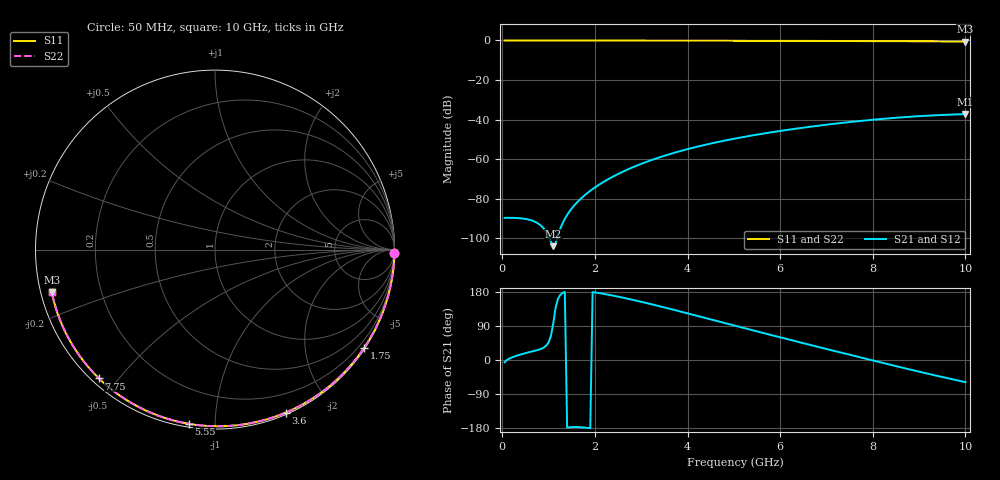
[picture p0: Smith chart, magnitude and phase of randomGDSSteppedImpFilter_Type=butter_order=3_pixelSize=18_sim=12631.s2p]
! freq	dB(S11)	phase(S11)	dB(S12)	phase(S12)
!  dB(S21)	phase(S21)	dB(S22)	phase(S22)
!S-par simulation data
#  GHz  S  DB  R 50
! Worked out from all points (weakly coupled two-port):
!   200 points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, 50 MHz to 10 GHz, reference 50 ohm
!   highest |S21| = -37.20 dB at 10 GHz (marker M1); lowest = -103.9 dB at 1.1 GHz (marker M2)
!   lowest |S11| = -0.5 dB at 10 GHz (marker M3), VSWR 32.37, Z = 1.57 - j6.44 ohm
!   |S11| at or under -10 dB: nowhere
!   |S22| runs from -0.5 to 0.0 dB; largest |S21 - S12| = 0
!   S11 on the Smith chart (normalised r, x): 50 MHz: open; 1.75 GHz: 0.03, -3.34; 3.6 GHz: 0.02, -1.52; 5.55 GHz: 0.02, -0.86; 7.75 GHz: 0.02, -0.45; 10 GHz: 0.03, -0.13
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0.05  -0.00 -1.0  -89.65 -6.2  -89.65 -6.2  -0.00 -1.0
0.55  -0.01 -10.6  -90.39 19.7  -90.39 19.7  -0.01 -10.6
1.1  -0.02 -21.1  -103.92 95.8  -103.92 95.8  -0.02 -21.1
1.65  -0.04 -31.5  -80.95 -177.0  -80.95 -177.0  -0.04 -31.5
1.7  -0.04 -32.4  -79.82 -177.4  -79.82 -177.4  -0.04 -32.4
1.75  -0.04 -33.4  -78.77 -177.9  -78.77 -177.9  -0.04 -33.4
1.9  -0.05 -36.1  -75.92 -180.0  -75.92 -180.0  -0.05 -36.2
2.05  -0.05 -38.9  -73.45 177.4  -73.45 177.4  -0.05 -38.9
2.25  -0.05 -42.6  -70.57 173.2  -70.57 173.2  -0.05 -42.6
2.45  -0.06 -46.2  -68.04 168.4  -68.04 168.4  -0.06 -46.2
2.9  -0.07 -54.3  -63.27 156.5  -63.27 156.5  -0.07 -54.3
3.4  -0.08 -63.1  -59.01 141.8  -59.01 141.8  -0.08 -63.1
3.6  -0.09 -66.6  -57.54 135.6  -57.54 135.6  -0.09 -66.6
4.3  -0.11 -78.4  -53.16 113.6  -53.16 113.6  -0.11 -78.4
5.05  -0.14 -90.7  -49.45 89.6  -49.45 89.6  -0.14 -90.7
5.55  -0.16 -98.6  -47.37 73.8  -47.37 73.8  -0.16 -98.7
6.1  -0.19 -107.2  -45.36 56.7  -45.36 56.7  -0.19 -107.2
6.7  -0.23 -116.3  -43.43 38.2  -43.43 38.2  -0.23 -116.4
7.75  -0.30 -132.0  -40.61 6.3  -40.61 6.3  -0.30 -132.0
8.35  -0.36 -140.8  -39.33 -11.7  -39.33 -11.7  -0.36 -140.9
9.2  -0.44 -153.4  -37.98 -36.5  -37.98 -36.5  -0.44 -153.4
10  -0.54 -165.3  -37.20 -58.4  -37.20 -58.4  -0.54 -165.4
